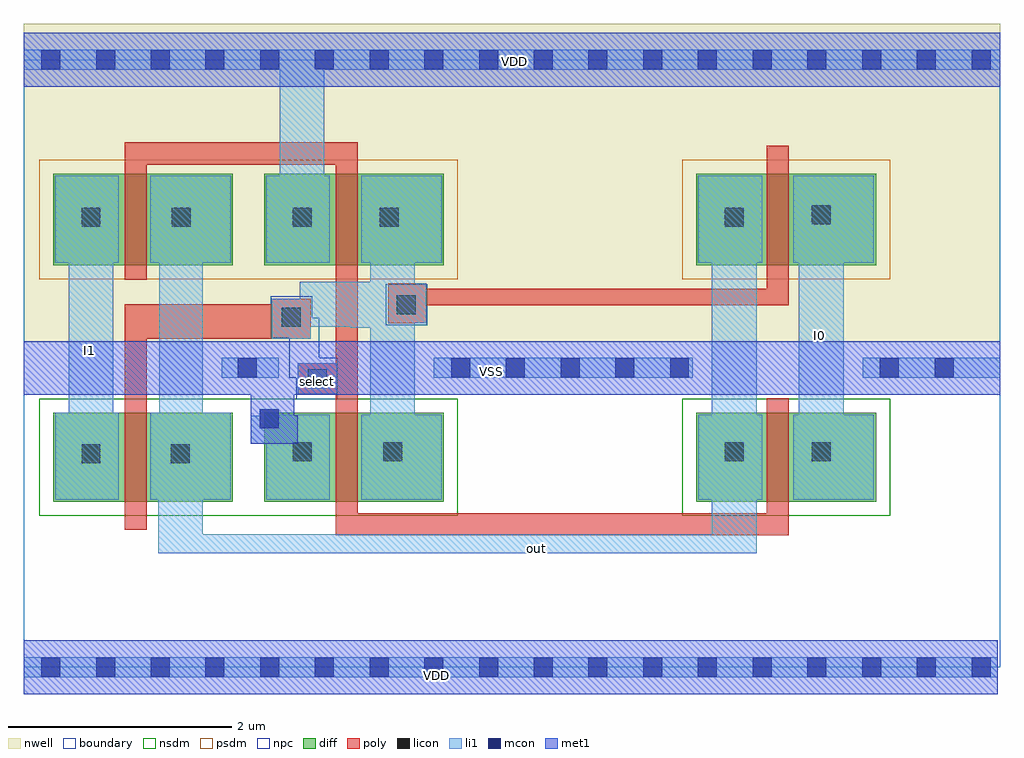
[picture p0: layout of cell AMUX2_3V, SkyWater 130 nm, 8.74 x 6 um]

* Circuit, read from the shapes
.subckt AMUX2_3V I0 I1 VDD VSS out select
XM1 out n1 I1 VSUBS sky130_fd_pr__nfet_01v8 w=0.8 l=0.2
XM2 n1 select VSS VSUBS sky130_fd_pr__nfet_01v8 w=0.8 l=0.2
XM3 I0 select out VSUBS sky130_fd_pr__nfet_01v8 w=0.8 l=0.2
XM4 out select I1 n2 sky130_fd_pr__pfet_01v8 w=0.82 l=0.2
XM5 n1 select VDD n2 sky130_fd_pr__pfet_01v8 w=0.82 l=0.2
XM6 I0 n1 out n2 sky130_fd_pr__pfet_01v8 w=0.82 l=0.2
.ends

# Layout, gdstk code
import gdstk
lib = gdstk.Library(unit=1e-6, precision=1e-09)
def R(c, l, rs):  # rectangles x0, y0, x1, y1
    for r in rs: c.add(gdstk.rectangle(r[:2], r[2:], *l))
def A(c, l, x, y, w, h, nx, ny, dx, dy):  # array of equal rectangles
    R(c, l, [(x+i*dx, y+j*dy, x+i*dx+w, y+j*dy+h) for i in range(nx) for j in range(ny)])
nwell = (64, 20)
diff = (65, 20)
poly = (66, 20)
licon = (66, 44)
li1 = (67, 20)
mcon = (67, 44)
met1 = (68, 20)
nsdm = (93, 44)
psdm = (94, 20)
npc = (95, 20)
boundary = (235, 4)

amux2_3v = lib.new_cell('AMUX2_3V')
R(amux2_3v, nwell, [(0,2.91,8.74,5.76)])
R(amux2_3v, diff, [(0.26,1.48,1.87,2.28), (2.15,1.48,3.76,2.28), (6.02,1.48,7.63,2.28), (0.26,3.6,1.87,4.42), (2.15,3.6,3.76,4.42), (6.02,3.6,7.63,4.42)])
R(amux2_3v, poly, [(2.79,1.18,6.85,1.38), (0.9,1.23,1.1,2.94), (2.79,1.38,2.99,2.45), (6.65,1.38,6.85,2.41), (2.45,2.45,2.99,2.72), (2.79,2.72,2.99,4.5), (0.9,2.94,2.57,3.25), (3.26,3.08,3.6,3.24), (3.26,3.24,6.85,3.39), (2.22,3.25,2.57,3.3), (3.26,3.39,3.6,3.44), (6.65,3.39,6.85,4.67), (0.9,3.47,1.1,4.5), (0.9,4.5,2.99,4.7)])
R(amux2_3v, licon, [(0.515,1.825,0.685,1.995), (1.315,1.825,1.485,1.995), (2.405,1.845,2.575,2.015), (3.215,1.845,3.385,2.015), (6.275,1.845,6.445,2.015), (7.055,1.845,7.225,2.015), (2.54,2.5,2.71,2.67), (2.31,3.05,2.48,3.22), (3.34,3.16,3.51,3.33), (0.515,3.945,0.685,4.115), (1.325,3.945,1.495,4.115), (2.405,3.945,2.575,4.115), (3.185,3.945,3.355,4.115), (6.275,3.945,6.445,4.115), (7.055,3.965,7.225,4.135)])
R(amux2_3v, li1, [(0,-0.09,8.72,0.09), (1.2,1.02,6.56,1.19), (1.2,1.19,1.6,1.5), (6.16,1.19,6.56,1.5), (0.28,1.5,0.85,2.28), (1.13,1.5,1.85,2.28), (2.17,1.5,2.74,2), (3.02,1.5,3.74,2.26), (6.04,1.5,6.61,2.26), (6.89,1.5,7.61,2.26), (2.03,2,2.74,2.25), (2.11,2.25,2.74,2.26), (2.11,2.26,2.28,2.31), (3.1,2.26,3.5,3.04), (6.16,2.26,6.56,3.62), (6.94,2.26,7.34,3.62), (0.4,2.28,0.8,3.62), (1.21,2.28,1.6,3.62), (2.45,2.45,2.8,2.72), (1.77,2.59,2.28,2.77), (3.67,2.59,5.99,2.77), (7.51,2.59,8.74,2.77), (2.22,2.94,2.57,3.05), (2.92,3.04,3.5,3.05), (2.22,3.05,3.5,3.08), (2.22,3.08,3.6,3.3), (2.47,3.3,3.6,3.44), (2.47,3.44,3.5,3.45), (3.1,3.45,3.5,3.62), (0.28,3.62,0.85,4.4), (1.13,3.62,1.85,4.4), (2.17,3.62,2.74,4.4), (3.02,3.62,3.74,4.4), (6.04,3.62,6.61,4.4), (6.89,3.62,7.61,4.4), (2.29,4.4,2.69,5.35), (0,5.35,8.74,5.53)])
A(amux2_3v, mcon, 0.155, -0.085, 0.17, 0.17, 18, 2, 0.49, 5.44)
A(amux2_3v, mcon, 3.825, 2.595, 0.17, 0.17, 5, 1, 0.49, 0)
R(amux2_3v, mcon, [(2.11,2.14,2.28,2.31), (1.915,2.595,2.085,2.765), (7.665,2.595,7.835,2.765), (8.155,2.595,8.325,2.765)])
R(amux2_3v, met1, [(0,-0.24,8.72,0.24), (2.03,2,2.45,2.25), (2.03,2.25,2.42,2.44), (0,2.44,8.74,2.92), (0,5.2,8.74,5.68)])
R(amux2_3v, nsdm, [(0.135,1.355,3.885,2.405), (5.895,1.355,7.755,2.405)])
R(amux2_3v, psdm, [(0.135,3.475,3.885,4.545), (5.895,3.475,7.755,4.545)])
R(amux2_3v, npc, [(2.44,2.4,2.81,2.59), (2.375,2.59,2.81,2.77), (2.375,2.77,2.645,2.95), (2.21,2.95,2.645,3.13), (3.24,3.06,3.61,3.43), (2.21,3.13,2.58,3.32)])
R(amux2_3v, boundary, [(0,0,8.74,5.44)])
amux2_3v.add(gdstk.Label('select', (2.63,2.56), layer=67, texttype=5))
amux2_3v.add(gdstk.Label('I0', (7.12,2.97), layer=67, texttype=5))
amux2_3v.add(gdstk.Label('out', (4.59,1.06), layer=67, texttype=5))
amux2_3v.add(gdstk.Label('I1', (0.59,2.84), layer=67, texttype=5))
amux2_3v.add(gdstk.Label('VSS', (4.19,2.65), layer=68, texttype=5))
amux2_3v.add(gdstk.Label('VDD', (3.69,-0.07), layer=68, texttype=5))
amux2_3v.add(gdstk.Label('VDD', (4.39,5.42), layer=68, texttype=5))

lib.write_gds('AMUX2_3V.gds')
